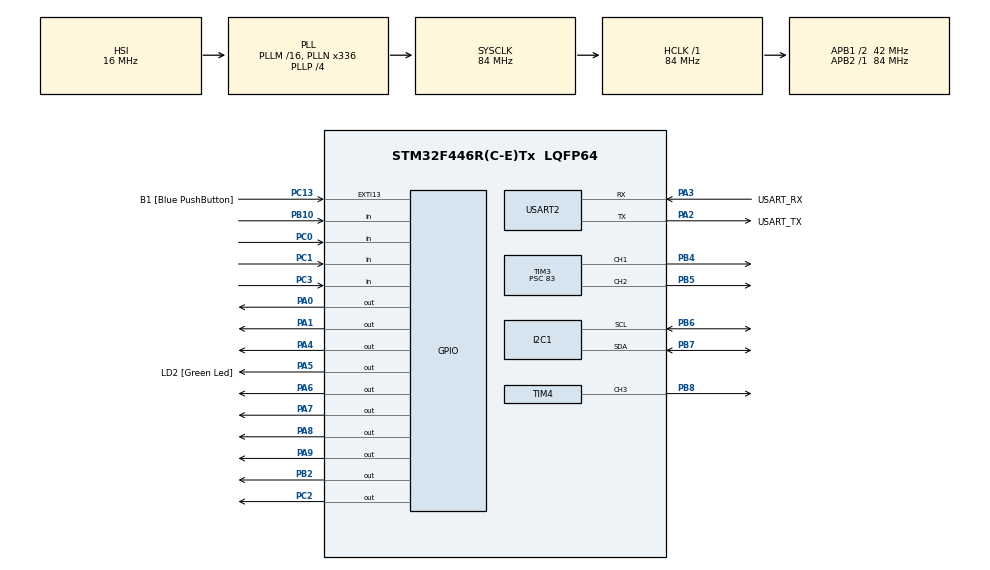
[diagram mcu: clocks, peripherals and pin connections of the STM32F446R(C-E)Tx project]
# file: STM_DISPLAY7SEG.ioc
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I2C1.OwnAddress=0x10
I2C1.OwnAddress=0x08
Mcu.Family=STM32F4
Mcu.Name=STM32F446R(C-E)Tx
Mcu.Package=LQFP64
NVIC.I2C1_ER_IRQn=true\:0\:0\:false\:false\:true\:true\:true\:true
NVIC.I2C1_EV_IRQn=true\:0\:0\:false\:false\:true\:true\:true\:true
NVIC.PriorityGroup=NVIC_PRIORITYGROUP_0
PA0-WKUP.Signal=GPIO_Output
PA1.Signal=GPIO_Output
PA13.GPIO_Label=TMS
PA13.Signal=SYS_JTMS-SWDIO
PA14.GPIO_Label=TCK
PA14.Signal=SYS_JTCK-SWCLK
PA2.GPIO_Label=USART_TX
PA2.Mode=Asynchronous
PA2.Signal=USART2_TX
PA3.GPIO_Label=USART_RX
PA3.Mode=Asynchronous
PA3.Signal=USART2_RX
PA4.Signal=GPIO_Output
PA5.GPIO_Label=LD2 [Green Led]
PA5.Signal=GPIO_Output
PA6.Signal=GPIO_Output
PA7.Signal=GPIO_Output
PA8.Signal=GPIO_Output
PA9.Signal=GPIO_Output
PB10.Signal=GPIO_Input
PB2.Signal=GPIO_Output
PB3.GPIO_Label=SWO
PB3.Signal=SYS_JTDO-SWO
PB4.Signal=S_TIM3_CH1
PB5.Signal=S_TIM3_CH2
PB6.GPIO_Pu=GPIO_PULLUP
PB6.Mode=I2C
PB6.Signal=I2C1_SCL
PB7.GPIO_Pu=GPIO_PULLUP
PB7.Mode=I2C
PB7.Signal=I2C1_SDA
PB8.Signal=S_TIM4_CH3
PC0.GPIO_PuPd=GPIO_PULLUP
PC0.Signal=GPIO_Input
PC1.GPIO_PuPd=GPIO_PULLUP
PC1.Signal=GPIO_Input
PC13.GPIO_Label=B1 [Blue PushButton]
PC13.GPIO_ModeDefaultEXTI=GPIO_MODE_IT_FALLING
PC13.Signal=GPXTI13
PC14-OSC32_IN.Signal=RCC_OSC32_IN
PC15-OSC32_OUT.Signal=RCC_OSC32_OUT
PC2.Signal=GPIO_Output
PC3.Signal=GPIO_Input
PH0-OSC_IN.Signal=RCC_OSC_IN
PH1-OSC_OUT.Signal=RCC_OSC_OUT
ProjectManager.HeapSize=0x200
ProjectManager.StackSize=0x400
ProjectManager.TargetToolchain=STM32CubeIDE
RCC.AHBFreq_Value=84000000
RCC.APB1CLKDivider=RCC_HCLK_DIV2
RCC.APB1Freq_Value=42000000
RCC.APB1TimFreq_Value=84000000
RCC.APB2Freq_Value=84000000
RCC.APB2TimFreq_Value=84000000
RCC.CortexFreq_Value=84000000
RCC.FLatency-AdvancedSettings=FLASH_LATENCY_2
RCC.HCLKFreq_Value=84000000
RCC.HSE_VALUE=8000000
RCC.HSI_VALUE=16000000
RCC.LSE_VALUE=32768
RCC.PLLN=336
RCC.PLLP=RCC_PLLP_DIV4
RCC.SYSCLKFreq_VALUE=84000000
RCC.SYSCLKSource=RCC_SYSCLKSOURCE_PLLCLK
RCC.USBFreq_Value=168000000
RCC.VCOOutputFreq_Value=336000000
TIM2.Period=0xFFFFFFFF
TIM2.Prescaler=83
SH.S_TIM3_CH1.0=TIM3_CH1,PWM Generation1 CH1
SH.S_TIM3_CH2.0=TIM3_CH2,PWM Generation2 CH2
SH.S_TIM4_CH3.0=TIM4_CH3,PWM Generation3 CH3
TIM2.Period=0xFFFFFFFF
TIM2.Prescaler=83
TIM3.Channel-PWM\ Generation1\ CH1=TIM_CHANNEL_1
TIM3.Channel-PWM\ Generation2\ CH2=TIM_CHANNEL_2
TIM3.Period=19999
TIM3.Prescaler=83
TIM3.Pulse-PWM\ Generation1\ CH1=1000
TIM3.Pulse-PWM\ Generation2\ CH2=1000
TIM4.Channel-PWM\ Generation3\ CH3=TIM_CHANNEL_3
TIM4.Period=104
USART2.VirtualMode=VM_ASYNC
VP_TIM2_VS_ClockSourceINT.Mode=Internal
VP_TIM3_VS_ClockSourceINT.Mode=Internal
VP_TIM4_VS_ClockSourceINT.Mode=Internal
board=NUCLEO-F446RE

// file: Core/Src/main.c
/* USER CODE BEGIN Header */
/**
  ******************************************************************************
  * @file           : main.c
  * @brief          : Main program body
  ******************************************************************************
  * @attention
  *
  * Copyright (c) 2026 STMicroelectronics.
  * All rights reserved.
  *
  * This software is licensed under terms that can be found in the LICENSE file
  * in the root directory of this software component.
  * If no LICENSE file comes with this software, it is provided AS-IS.
  *
  ******************************************************************************
  */
/* USER CODE END Header */
#include "main.h"

/* USER CODE BEGIN Includes */
#include <stdio.h>
#include <string.h>
#include "neopixel.h"
/* USER CODE END Includes */

/* USER CODE BEGIN PD */
/* --- HC-SR04 --- */
#define TRIG1_PORT  GPIOC
#define TRIG1_PIN   GPIO_PIN_2
#define ECHO1_PORT  GPIOC
#define ECHO1_PIN   GPIO_PIN_3

#define TRIG2_PORT  GPIOB
#define TRIG2_PIN   GPIO_PIN_2
#define ECHO2_PORT  GPIOB
#define ECHO2_PIN   GPIO_PIN_10

/* --- Sensores digitales --- */
#define HW488_PORT  GPIOC
#define HW488_PIN   GPIO_PIN_0
#define IR_PORT     GPIOC
#define IR_PIN      GPIO_PIN_1

/* --- 7-segmentos (catodo comun) --- */
#define SEG_A_PORT  GPIOA
#define SEG_A_PIN   GPIO_PIN_0
#define SEG_B_PORT  GPIOA
#define SEG_B_PIN   GPIO_PIN_1
#define SEG_C_PORT  GPIOA
#define SEG_C_PIN   GPIO_PIN_4
#define SEG_D_PORT  GPIOA
#define SEG_D_PIN   GPIO_PIN_6
#define SEG_E_PORT  GPIOA
#define SEG_E_PIN   GPIO_PIN_7
#define SEG_F_PORT  GPIOA
#define SEG_F_PIN   GPIO_PIN_8
#define SEG_G_PORT  GPIOA
#define SEG_G_PIN   GPIO_PIN_9

/* --- Umbrales --- */
#define DISTANCIA_UMBRAL_CM  30    // Menos de 30cm = carro detectado
#define HC_SR04_TIMEOUT_US   30000 // Timeout de medicion (30ms)

#define DISTANCIA_UMBRAL_CM  5     // Menos o igual a 5cm = carro detectado
#define HC_SR04_TIMEOUT_US   30000 // Timeout de medicion (30ms)

/* --- Servos (TIM3 a 50Hz, 1 count = 1us) --- */
#define SERVO_CERRADO  1000   // 1ms = ~0 grados (barrera abajo)
#define SERVO_ABIERTO  1500   // 1.5ms = ~90 grados (barrera arriba)

/* USER CODE END PD */

I2C_HandleTypeDef hi2c1;

TIM_HandleTypeDef htim2;
TIM_HandleTypeDef htim3;
TIM_HandleTypeDef htim4;
DMA_HandleTypeDef hdma_tim4_ch3;

UART_HandleTypeDef huart2;

/* USER CODE BEGIN PV */
volatile uint8_t grupoA = 0x00;    // Mis 4 sensores (bit0=P1..bit3=P4)
volatile uint8_t grupoB = 0x00;    // 4 sensores del companero (recibidos por I2C)
volatile uint8_t i2cTxByte = 0x00; // Byte a transmitir cuando el master lee
volatile uint8_t i2cRxByte = 0x00; // Byte recibido cuando el master escribe
char debugMsg[100];

/* --- Distancias HC-SR04 (para debug, se llenan en leerSensores) --- */
uint32_t debug_dist1 = 0;
uint32_t debug_dist2 = 0;

/* --- Servos (comandos recibidos por I2C, bits 4-5) --- */
volatile uint8_t servo1_cmd = 0;   // 0=cerrado(0°), 1=abierto(90°)
volatile uint8_t servo2_cmd = 0;
uint8_t servo_toggle = 0;         // Estado toggle del boton B1
uint8_t btn_prev = 1;             // B1 previo (1=suelto, activo LOW)

/* Tabla 7-segmentos: digitos 0-8 (catodo comun)
 * Formato bits: 0gfedcba
 *   0 = 0x3F   1 = 0x06   2 = 0x5B   3 = 0x4F
 *   4 = 0x66   5 = 0x6D   6 = 0x7D   7 = 0x07
 *   8 = 0x7F
 */
const uint8_t tabla7seg[9] = {
    0x3F,  // 0
    0x06,  // 1
    0x5B,  // 2
    0x4F,  // 3
    0x66,  // 4
    0x6D,  // 5
    0x7D,  // 6
    0x07,  // 7
    0x7F   // 8
};

/* USER CODE END PV */

void SystemClock_Config(void);
static void MX_GPIO_Init(void);
static void MX_I2C1_Init(void);
static void MX_USART2_UART_Init(void);
static void MX_TIM2_Init(void);
static void MX_DMA_Init(void);
static void MX_I2C1_Init(void);
static void MX_USART2_UART_Init(void);
static void MX_TIM2_Init(void);
static void MX_TIM4_Init(void);
static void MX_TIM3_Init(void);
/* USER CODE BEGIN PFP */
void delayUs(uint32_t us);
uint32_t medirDistanciaCm(GPIO_TypeDef *trigPort, uint16_t trigPin,
                          GPIO_TypeDef *echoPort, uint16_t echoPin);
uint8_t leerSensores(void);
void mostrar7seg(uint8_t digito);

/* USER CODE END PFP */

int main(void)
{

  /* MCU Configuration--------------------------------------------------------*/

  /* Reset of all peripherals, Initializes the Flash interface and the Systick. */
  HAL_Init();

  /* Configure the system clock */
  SystemClock_Config();

  /* Initialize all configured peripherals */
  MX_GPIO_Init();
  MX_I2C1_Init();
  MX_USART2_UART_Init();
  MX_TIM2_Init();
  MX_DMA_Init();
  MX_I2C1_Init();
  MX_USART2_UART_Init();
  MX_TIM2_Init();
  MX_TIM4_Init();
  MX_TIM3_Init();
  /* USER CODE BEGIN 2 */
  // Arrancar timer de microsegundos
  HAL_TIM_Base_Start(&htim2);

  // Activar I2C en modo Listen (detecta direccion de transferencia)
  HAL_I2C_EnableListen_IT(&hi2c1);

  // Debug
  sprintf(debugMsg, "STM32 Parqueo - I2C 0x08 Listen - 8 espacios\r\n");
  HAL_UART_Transmit(&huart2, (uint8_t*)debugMsg, strlen(debugMsg), 100);

  // Mostrar 8 (todos libres) al inicio
  mostrar7seg(8);

  NeoPixel_Init();
  NeoPixel_Update();  // Test: enviar 8 LEDs verdes al arranque
  HAL_Delay(10);      // Esperar DMA (~1ms real, 10ms de margen)
  sprintf(debugMsg, "NeoPixel test: 8 verdes enviados por DMA\r\n");
  HAL_UART_Transmit(&huart2, (uint8_t*)debugMsg, strlen(debugMsg), 100);

  // Arrancar PWM de servos (posicion cerrada por defecto)
  HAL_TIM_PWM_Start(&htim3, TIM_CHANNEL_1);  // Servo 1 en PB4
  HAL_TIM_PWM_Start(&htim3, TIM_CHANNEL_2);  // Servo 2 en PB5
  /* USER CODE END 2 */

  /* Infinite loop */
  while (1)
  {

    /* USER CODE BEGIN 3 */

	    // 1. Leer mis 4 sensores
	    grupoA = leerSensores();
	    i2cTxByte = grupoA;  // Preparar para cuando el master lea

	    // 2. Contar espacios libres TOTALES (mis 4 + 4 del companero)
	    uint8_t ocupados = 0;
	    for (int i = 0; i < 4; i++) {
	        if (grupoA & (1 << i)) ocupados++;
	        if (grupoB & (1 << i)) ocupados++;
	    }

	    // DEBUG: ver distancias crudas
	    uint32_t d1 = medirDistanciaCm(TRIG1_PORT, TRIG1_PIN, ECHO1_PORT, ECHO1_PIN);
	    uint32_t d2 = medirDistanciaCm(TRIG2_PORT, TRIG2_PIN, ECHO2_PORT, ECHO2_PIN);
	    sprintf(debugMsg, "D1:%lucm D2:%lucm\r\n", d1, d2);
	    // DEBUG: ver distancias (ya medidas en leerSensores, sin repetir)
	    sprintf(debugMsg, "D1:%lucm D2:%lucm\r\n", debug_dist1, debug_dist2);
	    HAL_UART_Transmit(&huart2, (uint8_t*)debugMsg, strlen(debugMsg), 100);

	    uint8_t libres = 8 - ocupados;

	    // 3. Actualizar display 7-segmentos (muestra 0-8)
	    mostrar7seg(libres);

	    // 4. Debug por UART
	    sprintf(debugMsg, "A:0b%c%c%c%c B:0b%c%c%c%c Libres:%d/8\r\n",
	            (grupoA & 0x08) ? '1' : '0',
	            (grupoA & 0x04) ? '1' : '0',
	            (grupoA & 0x02) ? '1' : '0',
	            (grupoA & 0x01) ? '1' : '0',
	            (grupoB & 0x08) ? '1' : '0',
	            (grupoB & 0x04) ? '1' : '0',
	            (grupoB & 0x02) ? '1' : '0',
	            (grupoB & 0x01) ? '1' : '0',
	            libres);
	    HAL_UART_Transmit(&huart2, (uint8_t*)debugMsg, strlen(debugMsg), 100);

	    // 5. Actualizar NeoPixels segun estado de parqueos
	    // Mapeo fisico: Sensor1->NP3, Sensor2->NP4, Sensor3->NP1, Sensor4->NP2
	    NeoPixel_SetEstado(1, (grupoA >> 2) & 1);  // NP1 <- Sensor 3 (bit 2)
	    NeoPixel_SetEstado(2, (grupoA >> 3) & 1);  // NP2 <- Sensor 4 (bit 3)
	    NeoPixel_SetEstado(3, (grupoA >> 0) & 1);  // NP3 <- Sensor 1 (bit 0)
	    NeoPixel_SetEstado(4, (grupoA >> 1) & 1);  // NP4 <- Sensor 2 (bit 1)
	    for (int i = 0; i < 4; i++) {
	        NeoPixel_SetEstado(i + 5, (grupoB >> i) & 1);  // espacios 5-8
	    }
	    NeoPixel_Update();

	    // 6. Actualizar servos segun comandos I2C (bits 4-5)
	    __HAL_TIM_SET_COMPARE(&htim3, TIM_CHANNEL_1,
	        servo1_cmd ? SERVO_ABIERTO : SERVO_CERRADO);
	    __HAL_TIM_SET_COMPARE(&htim3, TIM_CHANNEL_2,
	        servo2_cmd ? SERVO_ABIERTO : SERVO_CERRADO);

	    // 7. Polling del boton B1 (PC13) para toggle de servos
	    uint8_t btn_now = HAL_GPIO_ReadPin(B1_GPIO_Port, B1_Pin);
	    if (btn_prev == 1 && btn_now == 0) {
	        // Flanco de bajada detectado: toggle ambos servos
	        servo_toggle = !servo_toggle;
	        servo1_cmd = servo_toggle;
	        servo2_cmd = servo_toggle;
	        sprintf(debugMsg, "BTN: Servos -> %s\r\n",
	                servo_toggle ? "ABIERTO(90)" : "CERRADO(0)");
	        HAL_UART_Transmit(&huart2, (uint8_t*)debugMsg, strlen(debugMsg), 100);
	        // Actualizar servos de inmediato (no esperar al paso 6)
	        __HAL_TIM_SET_COMPARE(&htim3, TIM_CHANNEL_1,
	            servo1_cmd ? SERVO_ABIERTO : SERVO_CERRADO);
	        __HAL_TIM_SET_COMPARE(&htim3, TIM_CHANNEL_2,
	            servo2_cmd ? SERVO_ABIERTO : SERVO_CERRADO);
	    }
	    btn_prev = btn_now;

	    HAL_Delay(500);

  /* USER CODE END 3 */
}
}

void SystemClock_Config(void)
{
  RCC_OscInitTypeDef RCC_OscInitStruct = {0};
  RCC_ClkInitTypeDef RCC_ClkInitStruct = {0};

  /** Configure the main internal regulator output voltage
  */
  __HAL_RCC_PWR_CLK_ENABLE();
  __HAL_PWR_VOLTAGESCALING_CONFIG(PWR_REGULATOR_VOLTAGE_SCALE3);

  /** Initializes the RCC Oscillators according to the specified parameters
  * in the RCC_OscInitTypeDef structure.
  */
  RCC_OscInitStruct.OscillatorType = RCC_OSCILLATORTYPE_HSI;
  RCC_OscInitStruct.HSIState = RCC_HSI_ON;
  RCC_OscInitStruct.HSICalibrationValue = RCC_HSICALIBRATION_DEFAULT;
  RCC_OscInitStruct.PLL.PLLState = RCC_PLL_ON;
  RCC_OscInitStruct.PLL.PLLSource = RCC_PLLSOURCE_HSI;
  RCC_OscInitStruct.PLL.PLLM = 16;
  RCC_OscInitStruct.PLL.PLLN = 336;
  RCC_OscInitStruct.PLL.PLLP = RCC_PLLP_DIV4;
  RCC_OscInitStruct.PLL.PLLQ = 2;
  RCC_OscInitStruct.PLL.PLLR = 2;
  if (HAL_RCC_OscConfig(&RCC_OscInitStruct) != HAL_OK)
  {
    Error_Handler();
  }

  /** Initializes the CPU, AHB and APB buses clocks
  */
  RCC_ClkInitStruct.ClockType = RCC_CLOCKTYPE_HCLK|RCC_CLOCKTYPE_SYSCLK
                              |RCC_CLOCKTYPE_PCLK1|RCC_CLOCKTYPE_PCLK2;
  RCC_ClkInitStruct.SYSCLKSource = RCC_SYSCLKSOURCE_PLLCLK;
  RCC_ClkInitStruct.AHBCLKDivider = RCC_SYSCLK_DIV1;
  RCC_ClkInitStruct.APB1CLKDivider = RCC_HCLK_DIV2;
  RCC_ClkInitStruct.APB2CLKDivider = RCC_HCLK_DIV1;

  if (HAL_RCC_ClockConfig(&RCC_ClkInitStruct, FLASH_LATENCY_2) != HAL_OK)
  {
    Error_Handler();
  }
}

static void MX_I2C1_Init(void)
{

  hi2c1.Instance = I2C1;
  hi2c1.Init.ClockSpeed = 100000;
  hi2c1.Init.DutyCycle = I2C_DUTYCYCLE_2;
  hi2c1.Init.OwnAddress1 = 16;
  hi2c1.Init.AddressingMode = I2C_ADDRESSINGMODE_7BIT;
  hi2c1.Init.DualAddressMode = I2C_DUALADDRESS_DISABLE;
  hi2c1.Init.OwnAddress2 = 0;
  hi2c1.Init.GeneralCallMode = I2C_GENERALCALL_DISABLE;
  hi2c1.Init.NoStretchMode = I2C_NOSTRETCH_DISABLE;
  if (HAL_I2C_Init(&hi2c1) != HAL_OK)
  {
    Error_Handler();
  }

}

static void MX_TIM2_Init(void)
{

  TIM_ClockConfigTypeDef sClockSourceConfig = {0};
  TIM_MasterConfigTypeDef sMasterConfig = {0};

  htim2.Instance = TIM2;
  htim2.Init.Prescaler = 83;
  htim2.Init.CounterMode = TIM_COUNTERMODE_UP;
  htim2.Init.Period = 0xFFFFFFFF;
  htim2.Init.ClockDivision = TIM_CLOCKDIVISION_DIV1;
  htim2.Init.AutoReloadPreload = TIM_AUTORELOAD_PRELOAD_DISABLE;
  if (HAL_TIM_Base_Init(&htim2) != HAL_OK)
  {
    Error_Handler();
  }
  sClockSourceConfig.ClockSource = TIM_CLOCKSOURCE_INTERNAL;
  if (HAL_TIM_ConfigClockSource(&htim2, &sClockSourceConfig) != HAL_OK)
  {
    Error_Handler();
  }
  sMasterConfig.MasterOutputTrigger = TIM_TRGO_RESET;
  sMasterConfig.MasterSlaveMode = TIM_MASTERSLAVEMODE_DISABLE;
  if (HAL_TIMEx_MasterConfigSynchronization(&htim2, &sMasterConfig) != HAL_OK)
  {
    Error_Handler();
  }

}

static void MX_TIM3_Init(void)
{

  TIM_ClockConfigTypeDef sClockSourceConfig = {0};
  TIM_MasterConfigTypeDef sMasterConfig = {0};
  TIM_OC_InitTypeDef sConfigOC = {0};

  htim3.Instance = TIM3;
  htim3.Init.Prescaler = 83;
  htim3.Init.CounterMode = TIM_COUNTERMODE_UP;
  htim3.Init.Period = 19999;
  htim3.Init.ClockDivision = TIM_CLOCKDIVISION_DIV1;
  htim3.Init.AutoReloadPreload = TIM_AUTORELOAD_PRELOAD_DISABLE;
  if (HAL_TIM_Base_Init(&htim3) != HAL_OK)
  {
    Error_Handler();
  }
  sClockSourceConfig.ClockSource = TIM_CLOCKSOURCE_INTERNAL;
  if (HAL_TIM_ConfigClockSource(&htim3, &sClockSourceConfig) != HAL_OK)
  {
    Error_Handler();
  }
  if (HAL_TIM_PWM_Init(&htim3) != HAL_OK)
  {
    Error_Handler();
  }
  sMasterConfig.MasterOutputTrigger = TIM_TRGO_RESET;
  sMasterConfig.MasterSlaveMode = TIM_MASTERSLAVEMODE_DISABLE;
  if (HAL_TIMEx_MasterConfigSynchronization(&htim3, &sMasterConfig) != HAL_OK)
  {
    Error_Handler();
  }
  sConfigOC.OCMode = TIM_OCMODE_PWM1;
  sConfigOC.Pulse = 1000;
  sConfigOC.OCPolarity = TIM_OCPOLARITY_HIGH;
  sConfigOC.OCFastMode = TIM_OCFAST_DISABLE;
  if (HAL_TIM_PWM_ConfigChannel(&htim3, &sConfigOC, TIM_CHANNEL_1) != HAL_OK)
  {
    Error_Handler();
  }
  if (HAL_TIM_PWM_ConfigChannel(&htim3, &sConfigOC, TIM_CHANNEL_2) != HAL_OK)
  {
    Error_Handler();
  }
  HAL_TIM_MspPostInit(&htim3);

}

static void MX_TIM4_Init(void)
{

  TIM_ClockConfigTypeDef sClockSourceConfig = {0};
  TIM_MasterConfigTypeDef sMasterConfig = {0};
  TIM_OC_InitTypeDef sConfigOC = {0};

  htim4.Instance = TIM4;
  htim4.Init.Prescaler = 0;
  htim4.Init.CounterMode = TIM_COUNTERMODE_UP;
  htim4.Init.Period = 104;
  htim4.Init.ClockDivision = TIM_CLOCKDIVISION_DIV1;
  htim4.Init.AutoReloadPreload = TIM_AUTORELOAD_PRELOAD_DISABLE;
  if (HAL_TIM_Base_Init(&htim4) != HAL_OK)
  {
    Error_Handler();
  }
  sClockSourceConfig.ClockSource = TIM_CLOCKSOURCE_INTERNAL;
  if (HAL_TIM_ConfigClockSource(&htim4, &sClockSourceConfig) != HAL_OK)
  {
    Error_Handler();
  }
  if (HAL_TIM_PWM_Init(&htim4) != HAL_OK)
  {
    Error_Handler();
  }
  sMasterConfig.MasterOutputTrigger = TIM_TRGO_RESET;
  sMasterConfig.MasterSlaveMode = TIM_MASTERSLAVEMODE_DISABLE;
  if (HAL_TIMEx_MasterConfigSynchronization(&htim4, &sMasterConfig) != HAL_OK)
  {
    Error_Handler();
  }
  sConfigOC.OCMode = TIM_OCMODE_PWM1;
  sConfigOC.Pulse = 0;
  sConfigOC.OCPolarity = TIM_OCPOLARITY_HIGH;
  sConfigOC.OCFastMode = TIM_OCFAST_DISABLE;
  if (HAL_TIM_PWM_ConfigChannel(&htim4, &sConfigOC, TIM_CHANNEL_3) != HAL_OK)
  {
    Error_Handler();
  }
  HAL_TIM_MspPostInit(&htim4);

}

static void MX_USART2_UART_Init(void)
{

  huart2.Instance = USART2;
  huart2.Init.BaudRate = 115200;
  huart2.Init.WordLength = UART_WORDLENGTH_8B;
  huart2.Init.StopBits = UART_STOPBITS_1;
  huart2.Init.Parity = UART_PARITY_NONE;
  huart2.Init.Mode = UART_MODE_TX_RX;
  huart2.Init.HwFlowCtl = UART_HWCONTROL_NONE;
  huart2.Init.OverSampling = UART_OVERSAMPLING_16;
  if (HAL_UART_Init(&huart2) != HAL_OK)
  {
    Error_Handler();
  }

}

static void MX_DMA_Init(void)
{

  /* DMA controller clock enable */
  __HAL_RCC_DMA1_CLK_ENABLE();

  /* DMA interrupt init */
  /* DMA1_Stream7_IRQn interrupt configuration */
  HAL_NVIC_SetPriority(DMA1_Stream7_IRQn, 0, 0);
  HAL_NVIC_EnableIRQ(DMA1_Stream7_IRQn);

}

static void MX_GPIO_Init(void)
{
  GPIO_InitTypeDef GPIO_InitStruct = {0};

  /* GPIO Ports Clock Enable */
  __HAL_RCC_GPIOC_CLK_ENABLE();
  __HAL_RCC_GPIOH_CLK_ENABLE();
  __HAL_RCC_GPIOA_CLK_ENABLE();
  __HAL_RCC_GPIOB_CLK_ENABLE();

  /*Configure GPIO pin Output Level */
  HAL_GPIO_WritePin(GPIOC, GPIO_PIN_2, GPIO_PIN_RESET);

  /*Configure GPIO pin Output Level */
  HAL_GPIO_WritePin(GPIOA, GPIO_PIN_0|GPIO_PIN_1|GPIO_PIN_4|LD2_Pin
                          |GPIO_PIN_6|GPIO_PIN_7|GPIO_PIN_8|GPIO_PIN_9, GPIO_PIN_RESET);

  /*Configure GPIO pin Output Level */
  HAL_GPIO_WritePin(GPIOB, GPIO_PIN_2, GPIO_PIN_RESET);

  /*Configure GPIO pin : B1_Pin */
  GPIO_InitStruct.Pin = B1_Pin;
  GPIO_InitStruct.Mode = GPIO_MODE_IT_FALLING;
  GPIO_InitStruct.Pull = GPIO_NOPULL;
  HAL_GPIO_Init(B1_GPIO_Port, &GPIO_InitStruct);

  /*Configure GPIO pins : PC0 PC1 */
  GPIO_InitStruct.Pin = GPIO_PIN_0|GPIO_PIN_1;
  GPIO_InitStruct.Mode = GPIO_MODE_INPUT;
  GPIO_InitStruct.Pull = GPIO_PULLUP;
  HAL_GPIO_Init(GPIOC, &GPIO_InitStruct);

  /*Configure GPIO pin : PC2 */
  GPIO_InitStruct.Pin = GPIO_PIN_2;
  GPIO_InitStruct.Mode = GPIO_MODE_OUTPUT_PP;
  GPIO_InitStruct.Pull = GPIO_NOPULL;
  GPIO_InitStruct.Speed = GPIO_SPEED_FREQ_LOW;
  HAL_GPIO_Init(GPIOC, &GPIO_InitStruct);

  /*Configure GPIO pin : PC3 */
  GPIO_InitStruct.Pin = GPIO_PIN_3;
  GPIO_InitStruct.Mode = GPIO_MODE_INPUT;
  GPIO_InitStruct.Pull = GPIO_NOPULL;
  HAL_GPIO_Init(GPIOC, &GPIO_InitStruct);

  /*Configure GPIO pins : PA0 PA1 PA4 LD2_Pin
                           PA6 PA7 PA8 PA9 */
  GPIO_InitStruct.Pin = GPIO_PIN_0|GPIO_PIN_1|GPIO_PIN_4|LD2_Pin
                          |GPIO_PIN_6|GPIO_PIN_7|GPIO_PIN_8|GPIO_PIN_9;
  GPIO_InitStruct.Mode = GPIO_MODE_OUTPUT_PP;
  GPIO_InitStruct.Pull = GPIO_NOPULL;
  GPIO_InitStruct.Speed = GPIO_SPEED_FREQ_LOW;
  HAL_GPIO_Init(GPIOA, &GPIO_InitStruct);

  /*Configure GPIO pin : PB2 */
  GPIO_InitStruct.Pin = GPIO_PIN_2;
  GPIO_InitStruct.Mode = GPIO_MODE_OUTPUT_PP;
  GPIO_InitStruct.Pull = GPIO_NOPULL;
  GPIO_InitStruct.Speed = GPIO_SPEED_FREQ_LOW;
  HAL_GPIO_Init(GPIOB, &GPIO_InitStruct);

  /*Configure GPIO pin : PB10 */
  GPIO_InitStruct.Pin = GPIO_PIN_10;
  GPIO_InitStruct.Mode = GPIO_MODE_INPUT;
  GPIO_InitStruct.Pull = GPIO_NOPULL;
  HAL_GPIO_Init(GPIOB, &GPIO_InitStruct);

}

/* USER CODE BEGIN 4 */

/* --- Delay en microsegundos usando TIM2 --- */
void delayUs(uint32_t us) {
    uint32_t start = __HAL_TIM_GET_COUNTER(&htim2);
    while ((__HAL_TIM_GET_COUNTER(&htim2) - start) < us);
}

/* --- Medir distancia con HC-SR04 (retorna cm, 999 si timeout) --- */
uint32_t medirDistanciaCm(GPIO_TypeDef *trigPort, uint16_t trigPin,
                          GPIO_TypeDef *echoPort, uint16_t echoPin)
{
    uint32_t start, elapsed;

    // Pulso TRIG de 10us
    HAL_GPIO_WritePin(trigPort, trigPin, GPIO_PIN_RESET);
    delayUs(2);
    HAL_GPIO_WritePin(trigPort, trigPin, GPIO_PIN_SET);
    delayUs(10);
    HAL_GPIO_WritePin(trigPort, trigPin, GPIO_PIN_RESET);

    // Esperar ECHO suba (con timeout)
    start = __HAL_TIM_GET_COUNTER(&htim2);
    while (HAL_GPIO_ReadPin(echoPort, echoPin) == GPIO_PIN_RESET) {
        if ((__HAL_TIM_GET_COUNTER(&htim2) - start) > HC_SR04_TIMEOUT_US)
            return 999;
    }

    // Medir duracion del pulso ECHO
    start = __HAL_TIM_GET_COUNTER(&htim2);
    while (HAL_GPIO_ReadPin(echoPort, echoPin) == GPIO_PIN_SET) {
        if ((__HAL_TIM_GET_COUNTER(&htim2) - start) > HC_SR04_TIMEOUT_US)
            return 999;
    }
    elapsed = __HAL_TIM_GET_COUNTER(&htim2) - start;

    // Distancia = tiempo_us / 58
    return elapsed / 58;
}

/* --- Leer los 4 sensores, retorna 4 bits --- */
uint8_t leerSensores(void) {
    uint8_t estado = 0x00;

    // Sensor 1: HC-SR04 #1
    uint32_t dist1 = medirDistanciaCm(TRIG1_PORT, TRIG1_PIN, ECHO1_PORT, ECHO1_PIN);
    if (dist1 < DISTANCIA_UMBRAL_CM)
        estado |= 0x01;  // bit 0

    // Sensor 2: HC-SR04 #2
    uint32_t dist2 = medirDistanciaCm(TRIG2_PORT, TRIG2_PIN, ECHO2_PORT, ECHO2_PIN);
    if (dist2 < DISTANCIA_UMBRAL_CM)
        estado |= 0x02;  // bit 1

    // Sensor 3: HW-488 (activo LOW = detectado)
    if (HAL_GPIO_ReadPin(HW488_PORT, HW488_PIN) == GPIO_PIN_RESET)
    debug_dist1 = medirDistanciaCm(TRIG1_PORT, TRIG1_PIN, ECHO1_PORT, ECHO1_PIN);
    if (debug_dist1 <= DISTANCIA_UMBRAL_CM)
        estado |= 0x01;  // bit 0

    // Sensor 2: HC-SR04 #2
    debug_dist2 = medirDistanciaCm(TRIG2_PORT, TRIG2_PIN, ECHO2_PORT, ECHO2_PIN);
    if (debug_dist2 <= DISTANCIA_UMBRAL_CM)
        estado |= 0x02;  // bit 1

    // Sensor 3: IR tipo LM393 (activo HIGH = detectado)
    if (HAL_GPIO_ReadPin(HW488_PORT, HW488_PIN) == GPIO_PIN_SET)
        estado |= 0x04;  // bit 2

    // Sensor 4: IR/LM393 (activo LOW = detectado)
    if (HAL_GPIO_ReadPin(IR_PORT, IR_PIN) == GPIO_PIN_SET)
        estado |= 0x08;  // bit 3

    return estado;
}

/* --- Mostrar digito 0-8 en display 7-segmentos --- */
void mostrar7seg(uint8_t digito) {
    if (digito > 8) digito = 8;

    uint8_t seg = ~tabla7seg[digito] & 0x7F;  // invertir los 7 bits

    HAL_GPIO_WritePin(SEG_A_PORT, SEG_A_PIN, (seg & 0x01) ? GPIO_PIN_SET : GPIO_PIN_RESET);

    HAL_GPIO_WritePin(SEG_A_PORT, SEG_A_PIN, (seg & 0x01) ? GPIO_PIN_SET : GPIO_PIN_RESET);
    HAL_GPIO_WritePin(SEG_B_PORT, SEG_B_PIN, (seg & 0x02) ? GPIO_PIN_SET : GPIO_PIN_RESET);
    HAL_GPIO_WritePin(SEG_C_PORT, SEG_C_PIN, (seg & 0x04) ? GPIO_PIN_SET : GPIO_PIN_RESET);
    HAL_GPIO_WritePin(SEG_D_PORT, SEG_D_PIN, (seg & 0x08) ? GPIO_PIN_SET : GPIO_PIN_RESET);
    HAL_GPIO_WritePin(SEG_E_PORT, SEG_E_PIN, (seg & 0x10) ? GPIO_PIN_SET : GPIO_PIN_RESET);
    HAL_GPIO_WritePin(SEG_F_PORT, SEG_F_PIN, (seg & 0x20) ? GPIO_PIN_SET : GPIO_PIN_RESET);
    HAL_GPIO_WritePin(SEG_G_PORT, SEG_G_PIN, (seg & 0x40) ? GPIO_PIN_SET : GPIO_PIN_RESET);
}

/* =====================================================
 * I2C LISTEN MODE CALLBACKS
 * El ESP32 master hace dos cosas:
 *   1. Lee de nosotros -> le mandamos grupoA (nuestros 4 sensores)
 *   2. Nos escribe     -> recibimos grupoB (4 sensores del companero)
 * ===================================================== */

/* Llamado cuando el master nos direcciona (inicio de transferencia) */
void HAL_I2C_AddrCallback(I2C_HandleTypeDef *hi2c,
                          uint8_t TransferDirection,
                          uint16_t AddrMatchCode)
{
    if (hi2c->Instance == I2C1)
    {
        if (TransferDirection == I2C_DIRECTION_RECEIVE)
        {
            // El master quiere LEER de nosotros -> transmitir grupoA
            i2cTxByte = grupoA;
            HAL_I2C_Slave_Seq_Transmit_IT(hi2c, (uint8_t*)&i2cTxByte, 1,
                                          I2C_FIRST_AND_LAST_FRAME);
        }
        else
        {
            // El master quiere ESCRIBIR en nosotros -> recibir grupoB
            HAL_I2C_Slave_Seq_Receive_IT(hi2c, (uint8_t*)&i2cRxByte, 1,
                                         I2C_FIRST_AND_LAST_FRAME);
        }
    }
}

/* Llamado cuando terminamos de transmitir al master */
void HAL_I2C_SlaveTxCpltCallback(I2C_HandleTypeDef *hi2c)
{
    // Nada extra, el ListenCplt rearmara el listen
}

/* Llamado cuando recibimos dato del master */
void HAL_I2C_SlaveRxCpltCallback(I2C_HandleTypeDef *hi2c)
{
    if (hi2c->Instance == I2C1)
    {
        // Guardar los 4 bits del companero
        grupoB = i2cRxByte & 0x0F;
        // Guardar los 4 bits del companero + comandos de servo
        grupoB = i2cRxByte & 0x0F;
        servo1_cmd = (i2cRxByte >> 4) & 0x01;
        servo2_cmd = (i2cRxByte >> 5) & 0x01;
    }
}

/* Llamado cuando termina la transaccion completa (STOP en el bus) */
void HAL_I2C_ListenCpltCallback(I2C_HandleTypeDef *hi2c)
{
    // Rearmar el listen para la siguiente transaccion
    HAL_I2C_EnableListen_IT(hi2c);
}

/* Error: reiniciar I2C y reactivar listen */
void HAL_I2C_ErrorCallback(I2C_HandleTypeDef *hi2c)
{
    if (hi2c->Instance == I2C1)
    {
        sprintf(debugMsg, "I2C ERR: 0x%08lX\r\n", hi2c->ErrorCode);
        HAL_UART_Transmit(&huart2, (uint8_t*)debugMsg, strlen(debugMsg), 100);

        HAL_I2C_DeInit(&hi2c1);
        HAL_I2C_Init(&hi2c1);
        HAL_I2C_EnableListen_IT(&hi2c1);
    }
}

/* USER CODE END 4 */

void Error_Handler(void)
{
  __disable_irq();
  while (1)
  {
  }
}
